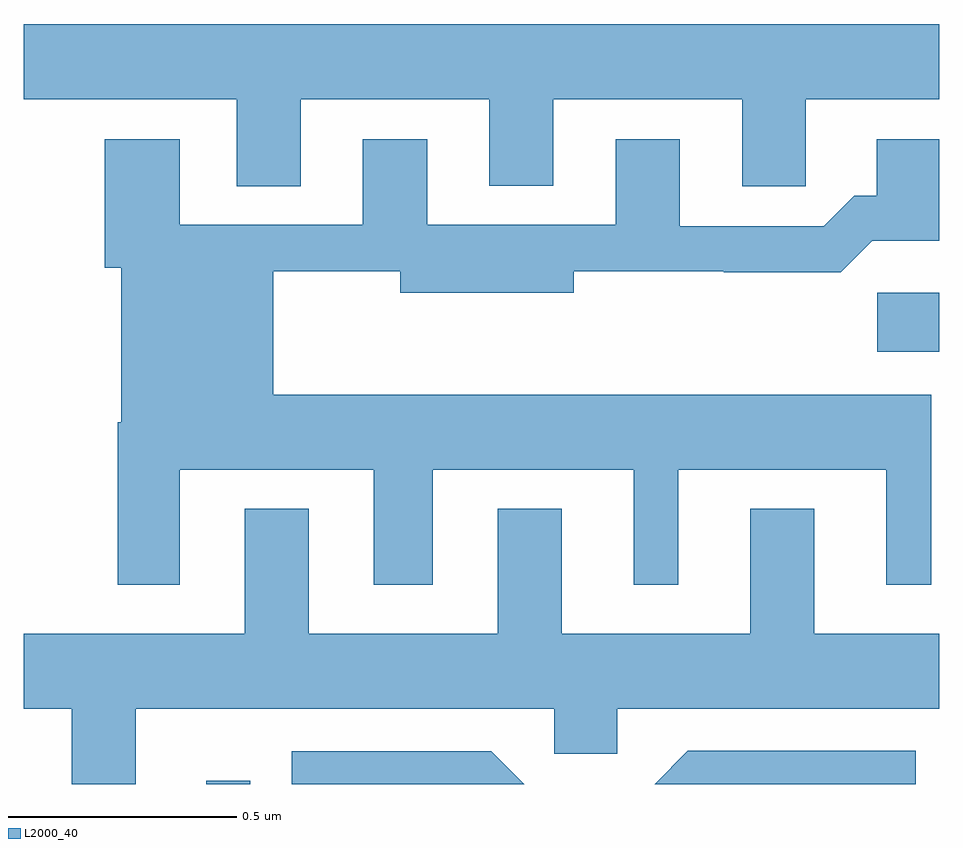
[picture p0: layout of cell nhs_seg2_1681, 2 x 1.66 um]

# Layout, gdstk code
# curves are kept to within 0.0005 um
import gdstk
lib = gdstk.Library(unit=1e-6, precision=1e-09)
def R(c, l, rs):  # rectangles x0, y0, x1, y1
    for r in rs: c.add(gdstk.rectangle(r[:2], r[2:], *l))
def P(c, l, *ps):  # polygons
    for p in ps: c.add(gdstk.Polygon(p, *l))
L2000_40 = (2000, 40)

nhs_seg2_1681 = lib.new_cell('nhs_seg2_1681')
R(nhs_seg2_1681, L2000_40, [(131.399,652.8,131.495,652.807), (132.864,653.744,133,653.873)])
P(nhs_seg2_1681, L2000_40, [(131.605,654.296),(132.017,654.296),(132.017,654.107),(132.157,654.107),(132.157,654.296),(132.569,654.296),(132.569,654.106),(132.708,654.106),(132.708,654.296),(133,654.296),(133,654.46),(131,654.46),(131,654.296),(131.465,654.296),(131.465,654.106),(131.605,654.106)],
  [(131.341,653.486),(131.765,653.486),(131.765,653.235),(131.893,653.235),(131.893,653.486),(132.332,653.486),(132.332,653.235),(132.43,653.235),(132.43,653.486),(132.884,653.486),(132.884,653.235),(132.982,653.235),(132.982,653.65),(131.545,653.65),(131.545,653.92),(131.822,653.92),(131.822,653.873),(132.202,653.873),(132.202,653.92),(132.529,653.92),(132.529,653.918),(132.785,653.918),(132.854,653.987),(133,653.987),(133,654.208),(132.863,654.208),(132.863,654.085),(132.814,654.085),(132.747,654.018),(132.433,654.018),(132.433,654.208),(132.293,654.208),(132.293,654.021),(131.881,654.022),(131.881,654.208),(131.741,654.208),(131.741,654.021),(131.341,654.021),(131.341,654.208),(131.177,654.208),(131.177,653.928),(131.213,653.928),(131.213,653.59),(131.206,653.59),(131.206,653.235),(131.341,653.235)],
  [(131.245,652.964),(132.159,652.964),(132.159,652.866),(132.297,652.866),(132.297,652.964),(133,652.964),(133,653.128),(132.727,653.128),(132.727,653.401),(132.587,653.401),(132.587,653.128),(132.175,653.128),(132.175,653.401),(132.035,653.401),(132.035,653.128),(131.623,653.128),(131.623,653.401),(131.483,653.401),(131.483,653.128),(131,653.128),(131,652.964),(131.105,652.964),(131.105,652.8),(131.245,652.8)],
  [(132.948,652.873),(132.451,652.873),(132.378,652.8),(132.948,652.8)],
  [(132.021,652.872),(131.586,652.872),(131.586,652.8),(132.093,652.8)])

lib.write_gds('nhs_seg2_1681.gds')
